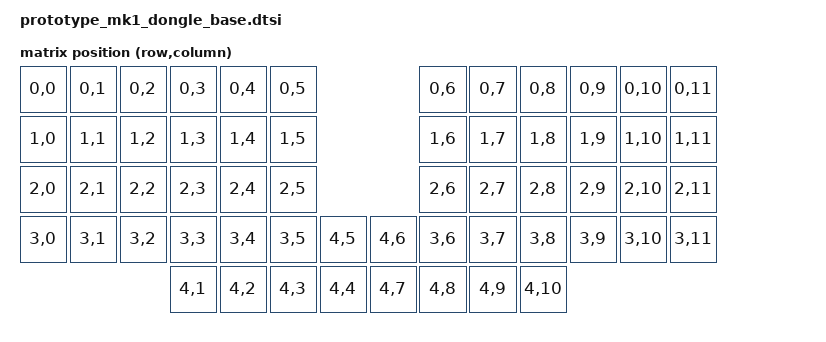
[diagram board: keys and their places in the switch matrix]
/*
 * Copyright (c) 2020 Ryan Cross
 *
 * SPDX-License-Identifier: MIT
 *
 * Shared receiver-dongle device tree for Prototype_Mk1: mock kscan, the dongle
 * matrix transform, and the central chosen nodes. Included by both dongle
 * shields:
 *   - prototype_mk1_dongle    (nice!nano v2 + nice!view)
 *   - prototype_mk1_waveshare (XIAO nRF52840 + Waveshare 1.69" via prospector)
 * The including overlay adds the display (and any encoders) on top.
 */

#include <dt-bindings/zmk/matrix_transform.h>
#include "layouts/prototype_mk1_layout.dtsi"

&h0n3yc4t_prototype_mk1_layout {
    transform = <&dongle_transform>;
};

/ {
    chosen {
        zmk,kscan = &mock_kscan;
        zmk,physical-layout = &h0n3yc4t_prototype_mk1_layout;
    };

    mock_kscan: kscan_1 {
        compatible = "zmk,kscan-mock";
        columns = <0>;
        rows = <0>;
        events = <0>;
    };

    dongle_transform: keymap_transform_dongle {
        compatible = "zmk,matrix-transform";
        columns = <12>;
        rows = <5>;
        map = <
RC(0,0) RC(0,1) RC(0,2) RC(0,3) RC(0,4) RC(0,5)                 RC(0,6) RC(0,7) RC(0,8)  RC(0,9) RC(0,10) RC(0,11)
RC(1,0) RC(1,1) RC(1,2) RC(1,3) RC(1,4) RC(1,5)                 RC(1,6) RC(1,7) RC(1,8)  RC(1,9) RC(1,10) RC(1,11)
RC(2,0) RC(2,1) RC(2,2) RC(2,3) RC(2,4) RC(2,5)                 RC(2,6) RC(2,7) RC(2,8)  RC(2,9) RC(2,10) RC(2,11)
RC(3,0) RC(3,1) RC(3,2) RC(3,3) RC(3,4) RC(3,5) RC(4,5) RC(4,6) RC(3,6) RC(3,7) RC(3,8)  RC(3,9) RC(3,10) RC(3,11)
                        RC(4,1) RC(4,2) RC(4,3) RC(4,4) RC(4,7) RC(4,8) RC(4,9) RC(4,10)
        >;
    };
};
